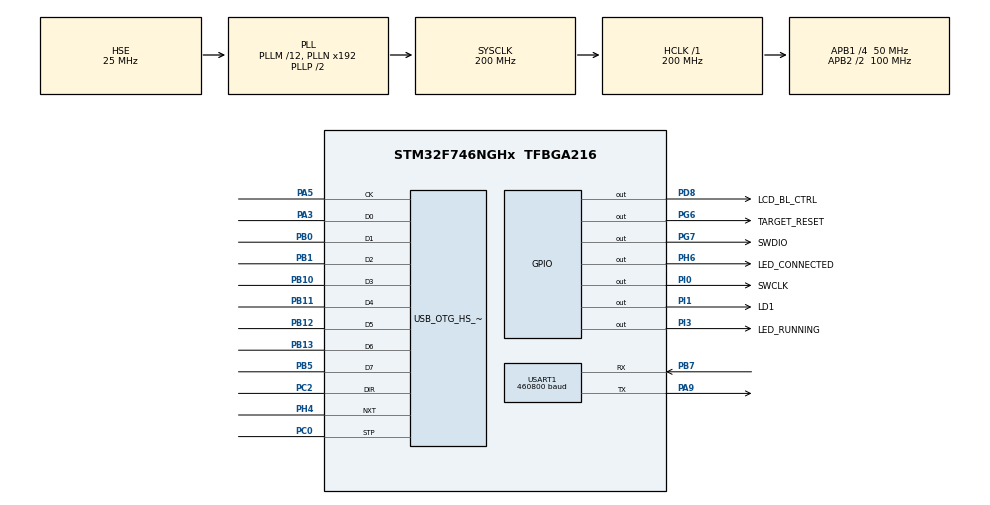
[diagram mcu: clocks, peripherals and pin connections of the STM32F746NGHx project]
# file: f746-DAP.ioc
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Dma.Request0=USART1_TX
Dma.USART1_TX.0.Direction=DMA_MEMORY_TO_PERIPH
Dma.USART1_TX.0.FIFOMode=DMA_FIFOMODE_DISABLE
Dma.USART1_TX.0.Instance=DMA2_Stream7
Dma.USART1_TX.0.MemDataAlignment=DMA_MDATAALIGN_BYTE
Dma.USART1_TX.0.MemInc=DMA_MINC_ENABLE
Dma.USART1_TX.0.Mode=DMA_NORMAL
Dma.USART1_TX.0.PeriphDataAlignment=DMA_PDATAALIGN_BYTE
Dma.USART1_TX.0.PeriphInc=DMA_PINC_DISABLE
Dma.USART1_TX.0.Priority=DMA_PRIORITY_LOW
Mcu.Family=STM32F7
Mcu.Name=STM32F746NGHx
Mcu.Package=TFBGA216
NVIC.DMA2_Stream7_IRQn=true\:0\:0\:false\:false\:true\:false\:true\:true
NVIC.OTG_HS_IRQn=true\:0\:0\:false\:false\:true\:true\:true\:true
NVIC.PriorityGroup=NVIC_PRIORITYGROUP_4
NVIC.USART1_IRQn=true\:0\:0\:false\:false\:true\:true\:true\:true
PA13.Mode=Serial_Wire
PA13.Signal=SYS_JTMS-SWDIO
PA14.Mode=Serial_Wire
PA14.Signal=SYS_JTCK-SWCLK
PA3.Mode=Device_HS
PA3.Signal=USB_OTG_HS_ULPI_D0
PA5.Mode=Device_HS
PA5.Signal=USB_OTG_HS_ULPI_CK
PA9.Mode=Asynchronous
PA9.Signal=USART1_TX
PB0.Mode=Device_HS
PB0.Signal=USB_OTG_HS_ULPI_D1
PB1.Mode=Device_HS
PB1.Signal=USB_OTG_HS_ULPI_D2
PB10.Mode=Device_HS
PB10.Signal=USB_OTG_HS_ULPI_D3
PB11.Mode=Device_HS
PB11.Signal=USB_OTG_HS_ULPI_D4
PB12.Mode=Device_HS
PB12.Signal=USB_OTG_HS_ULPI_D5
PB13.Mode=Device_HS
PB13.Signal=USB_OTG_HS_ULPI_D6
PB5.Mode=Device_HS
PB5.Signal=USB_OTG_HS_ULPI_D7
PB7.Mode=Asynchronous
PB7.Signal=USART1_RX
PC0.Mode=Device_HS
PC0.Signal=USB_OTG_HS_ULPI_STP
PC2.Mode=Device_HS
PC2.Signal=USB_OTG_HS_ULPI_DIR
PD8.GPIO_Label=LCD_BL_CTRL
PD8.Signal=GPIO_Output
PG6.GPIO_Label=TARGET_RESET
PG6.GPIO_ModeDefaultOutputPP=GPIO_MODE_OUTPUT_OD
PG6.GPIO_PuPd=GPIO_PULLUP
PG6.GPIO_Speed=GPIO_SPEED_FREQ_VERY_HIGH
PG6.Signal=GPIO_Output
PG7.GPIO_Label=SWDIO
PG7.GPIO_Speed=GPIO_SPEED_FREQ_VERY_HIGH
PG7.Signal=GPIO_Output
PH0/OSC_IN.Mode=HSE-External-Oscillator
PH0/OSC_IN.Signal=RCC_OSC_IN
PH1/OSC_OUT.Mode=HSE-External-Oscillator
PH1/OSC_OUT.Signal=RCC_OSC_OUT
PH4.Mode=Device_HS
PH4.Signal=USB_OTG_HS_ULPI_NXT
PH6.GPIO_Label=LED_CONNECTED
PH6.Signal=GPIO_Output
PI0.GPIO_Label=SWCLK
PI0.GPIO_Speed=GPIO_SPEED_FREQ_VERY_HIGH
PI0.Signal=GPIO_Output
PI1.GPIO_Label=LD1
PI1.Signal=GPIO_Output
PI3.GPIO_Label=LED_RUNNING
PI3.Signal=GPIO_Output
ProjectManager.HeapSize=0x200
ProjectManager.StackSize=0x400
ProjectManager.TargetToolchain=STM32CubeIDE
RCC.AHBFreq_Value=200000000
RCC.APB1CLKDivider=RCC_HCLK_DIV4
RCC.APB1Freq_Value=50000000
RCC.APB1TimFreq_Value=100000000
RCC.APB2CLKDivider=RCC_HCLK_DIV2
RCC.APB2Freq_Value=100000000
RCC.APB2TimFreq_Value=200000000
RCC.CortexFreq_Value=200000000
RCC.HCLKFreq_Value=200000000
RCC.HSE_VALUE=25000000
RCC.HSI_VALUE=16000000
RCC.LSE_VALUE=32768
RCC.PLLM=12
RCC.PLLSourceVirtual=RCC_PLLSOURCE_HSE
RCC.SYSCLKFreq_VALUE=200000000
RCC.SYSCLKSource=RCC_SYSCLKSOURCE_PLLCLK
RCC.USBFreq_Value=200000000
RCC.VCOOutputFreq_Value=400000000
USART1.BaudRate=460800
USART1.VirtualMode-Asynchronous=VM_ASYNC
USB_OTG_HS.VirtualMode-Device_HS=Device_HS
USB_OTG_HS.lpm_enable-Device_HS=DISABLE
USB_OTG_HS.use_dedicated_ep1-Device_HS=DISABLE
VP_TIM14_VS_ClockSourceINT.Mode=Enable_Timer
board=custom

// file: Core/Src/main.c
/* USER CODE BEGIN Header */
/**
  ******************************************************************************
  * @file           : main.c
  * @brief          : Main program body
  ******************************************************************************
  * @attention
  *
  * Copyright (c) 2023 STMicroelectronics.
  * All rights reserved.
  *
  * This software is licensed under terms that can be found in the LICENSE file
  * in the root directory of this software component.
  * If no LICENSE file comes with this software, it is provided AS-IS.
  *
  ******************************************************************************
  */
/* USER CODE END Header */
#include "main.h"
#include "dma.h"
#include "tim.h"
#include "usart.h"
#include "usb_otg.h"
#include "gpio.h"

/* USER CODE BEGIN Includes */
#include "usbd_core.h"
#include "usbd_desc.h"
#include "usbd_custom_class.h"
#include "app.h"

/* USER CODE END Includes */

/* USER CODE BEGIN PV */
USBD_HandleTypeDef hUsbDeviceHS;
extern PCD_HandleTypeDef hpcd_USB_OTG_HS;

/* USER CODE END PV */

void SystemClock_Config(void);

/* USER CODE BEGIN 0 */
int _write(int file, char *ptr, int len)
{
	HAL_UART_Transmit_IT( &huart1,  (uint8_t *) ptr,  len);

	return len;
}
/* USER CODE END 0 */

int main(void)
{

  /* MCU Configuration--------------------------------------------------------*/

  /* Reset of all peripherals, Initializes the Flash interface and the Systick. */
  HAL_Init();

  /* Configure the system clock */
  SystemClock_Config();

  /* Initialize all configured peripherals */
  MX_GPIO_Init();
  MX_USART1_UART_Init();
  MX_DMA_Init();
  MX_TIM14_Init();
  MX_USB_OTG_HS_PCD_Init();
  /* USER CODE BEGIN 2 */
  HAL_TIM_Base_Start(&htim14);

  printf("CMSIS-DAP by Frici, bulk mode \r\n");
  printf("Build: "__DATE__" " __TIME__"\r\n");

  HAL_GPIO_WritePin(LCD_BL_CTRL_GPIO_Port, LCD_BL_CTRL_Pin, GPIO_PIN_RESET);

  USBD_Init(&hUsbDeviceHS, &Class_Desc, 0);
  USBD_RegisterClass(&hUsbDeviceHS, &USBD_TEMPLATE_ClassDriver);
  USBD_Start(&hUsbDeviceHS);

  APP_Setup();

  /* USER CODE END 2 */

  /* Infinite loop */
  while (1)
  {

    /* USER CODE BEGIN 3 */
    APP_Run();
  }
  /* USER CODE END 3 */
}

void SystemClock_Config(void)
{
  RCC_OscInitTypeDef RCC_OscInitStruct = {0};
  RCC_ClkInitTypeDef RCC_ClkInitStruct = {0};

  /** Configure the main internal regulator output voltage
  */
  __HAL_RCC_PWR_CLK_ENABLE();
  __HAL_PWR_VOLTAGESCALING_CONFIG(PWR_REGULATOR_VOLTAGE_SCALE1);

  /** Initializes the RCC Oscillators according to the specified parameters
  * in the RCC_OscInitTypeDef structure.
  */
  RCC_OscInitStruct.OscillatorType = RCC_OSCILLATORTYPE_HSE;
  RCC_OscInitStruct.HSEState = RCC_HSE_ON;
  RCC_OscInitStruct.PLL.PLLState = RCC_PLL_ON;
  RCC_OscInitStruct.PLL.PLLSource = RCC_PLLSOURCE_HSE;
  RCC_OscInitStruct.PLL.PLLM = 12;
  RCC_OscInitStruct.PLL.PLLN = 192;
  RCC_OscInitStruct.PLL.PLLP = RCC_PLLP_DIV2;
  RCC_OscInitStruct.PLL.PLLQ = 2;
  if (HAL_RCC_OscConfig(&RCC_OscInitStruct) != HAL_OK)
  {
    Error_Handler();
  }

  /** Activate the Over-Drive mode
  */
  if (HAL_PWREx_EnableOverDrive() != HAL_OK)
  {
    Error_Handler();
  }

  /** Initializes the CPU, AHB and APB buses clocks
  */
  RCC_ClkInitStruct.ClockType = RCC_CLOCKTYPE_HCLK|RCC_CLOCKTYPE_SYSCLK
                              |RCC_CLOCKTYPE_PCLK1|RCC_CLOCKTYPE_PCLK2;
  RCC_ClkInitStruct.SYSCLKSource = RCC_SYSCLKSOURCE_PLLCLK;
  RCC_ClkInitStruct.AHBCLKDivider = RCC_SYSCLK_DIV1;
  RCC_ClkInitStruct.APB1CLKDivider = RCC_HCLK_DIV4;
  RCC_ClkInitStruct.APB2CLKDivider = RCC_HCLK_DIV2;

  if (HAL_RCC_ClockConfig(&RCC_ClkInitStruct, FLASH_LATENCY_6) != HAL_OK)
  {
    Error_Handler();
  }
}

void Error_Handler(void)
{
  __disable_irq();
  while (1)
  {
  }
}
